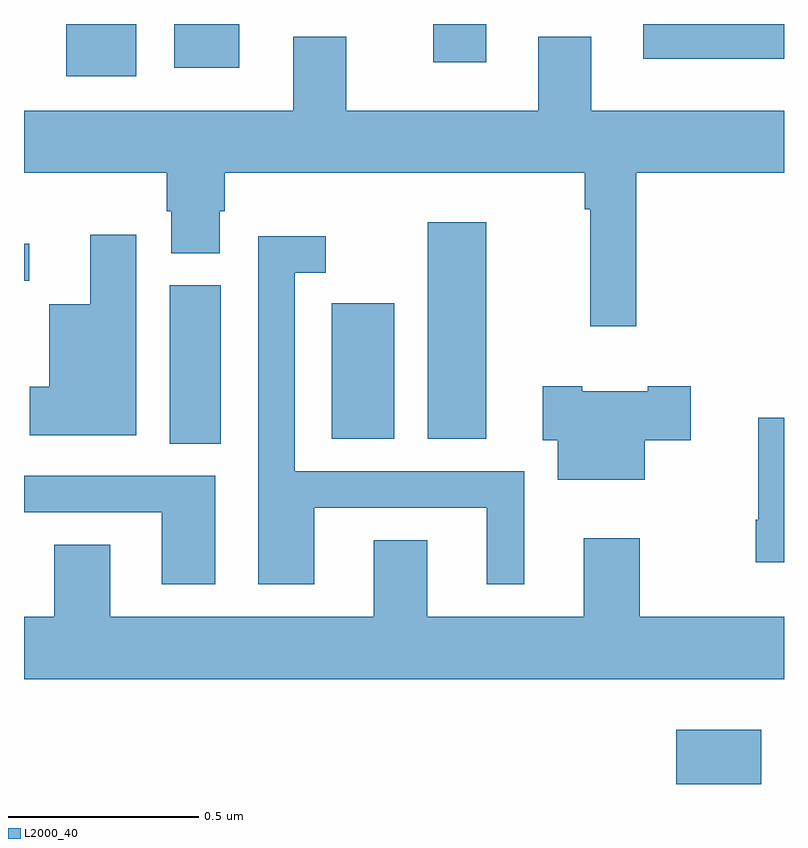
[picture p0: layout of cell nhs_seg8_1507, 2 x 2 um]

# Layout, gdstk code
import gdstk
lib = gdstk.Library(unit=1e-6, precision=1e-09)
def R(c, l, rs):  # rectangles x0, y0, x1, y1
    for r in rs: c.add(gdstk.rectangle(r[:2], r[2:], *l))
def P(c, l, *ps):  # polygons
    for p in ps: c.add(gdstk.Polygon(p, *l))
L2000_40 = (2000, 40)

nhs_seg8_1507 = lib.new_cell('nhs_seg8_1507')
R(nhs_seg8_1507, L2000_40, [(132.716,1106.9,132.94,1107.043), (131.384,1107.796,131.518,1108.212), (131.81,1107.808,131.974,1108.165), (132.062,1107.808,132.217,1108.378), (131,1108.224,131.014,1108.322), (131.111,1108.763,131.296,1108.9), (131.396,1108.785,131.566,1108.9), (132.077,1108.8,132.217,1108.9), (132.629,1108.808,133,1108.9)])
P(nhs_seg8_1507, L2000_40, [(132.611,1108.508),(133,1108.508),(133,1108.672),(132.493,1108.672),(132.493,1108.867),(132.353,1108.867),(132.353,1108.672),(131.848,1108.672),(131.848,1108.867),(131.708,1108.867),(131.708,1108.672),(131,1108.672),(131,1108.508),(131.375,1108.508),(131.375,1108.407),(131.387,1108.407),(131.387,1108.297),(131.515,1108.297),(131.515,1108.407),(131.528,1108.407),(131.528,1108.508),(132.475,1108.508),(132.475,1108.412),(132.49,1108.412),(132.49,1108.104),(132.611,1108.104)],
  [(131.296,1108.345),(131.174,1108.345),(131.174,1108.162),(131.066,1108.162),(131.066,1107.946),(131.015,1107.946),(131.015,1107.818),(131.296,1107.818)],
  [(131.764,1107.627),(132.218,1107.627),(132.218,1107.426),(132.316,1107.426),(132.316,1107.723),(131.712,1107.723),(131.712,1108.245),(131.794,1108.245),(131.794,1108.342),(131.616,1108.342),(131.616,1107.426),(131.764,1107.426)],
  [(132.634,1107.805),(132.754,1107.805),(132.754,1107.947),(132.641,1107.947),(132.641,1107.934),(132.469,1107.934),(132.469,1107.947),(132.365,1107.947),(132.365,1107.805),(132.404,1107.805),(132.404,1107.701),(132.634,1107.701)],
  [(133,1107.864),(132.932,1107.864),(132.932,1107.595),(132.925,1107.595),(132.925,1107.483),(133,1107.483)],
  [(131.503,1107.711),(131,1107.711),(131,1107.615),(131.363,1107.615),(131.363,1107.426),(131.503,1107.426)],
  [(133,1107.34),(132.621,1107.34),(132.621,1107.547),(132.473,1107.547),(132.473,1107.34),(132.061,1107.34),(132.061,1107.542),(131.921,1107.542),(131.921,1107.34),(131.227,1107.34),(131.227,1107.53),(131.08,1107.53),(131.08,1107.34),(131,1107.34),(131,1107.176),(133,1107.176)])

lib.write_gds('nhs_seg8_1507.gds')
